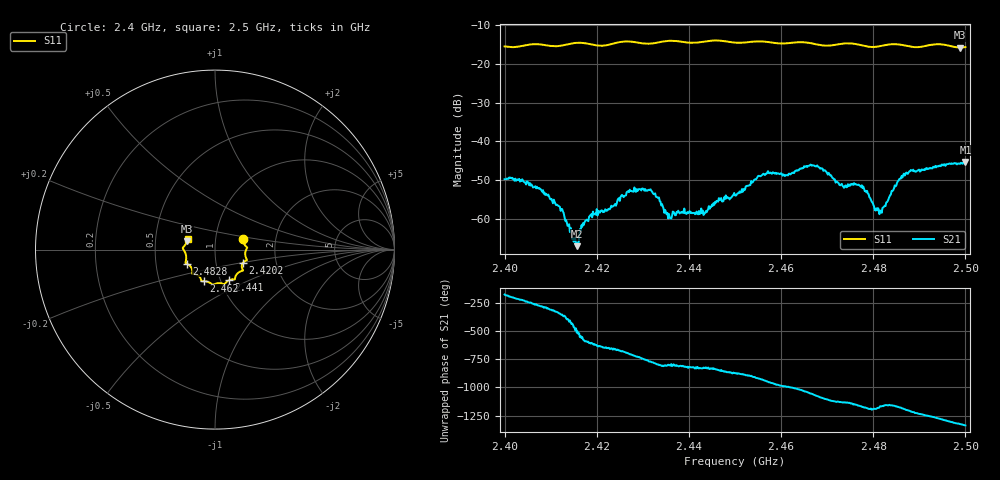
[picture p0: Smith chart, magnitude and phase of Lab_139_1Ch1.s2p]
# Hz S RI R 50
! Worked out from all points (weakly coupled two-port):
!   601 points, 2.4 GHz to 2.5 GHz, reference 50 ohm
!   highest |S21| = -45.34 dB at 2.5 GHz (marker M1); lowest = -67.1 dB at 2.4157 GHz (marker M2)
!   lowest |S11| = -15.8 dB at 2.4988 GHz (marker M3), VSWR 1.39, Z = 36.3 + j3.4 ohm
!   |S11| at or under -10 dB: start of sweep to end of sweep
!   S12 and S22 are empty: the file has one direction only
!   S11 on the Smith chart (normalised r, x): 2.4 GHz: 1.36, +0.17; 2.4202 GHz: 1.36, -0.20; 2.441 GHz: 1.10, -0.39; 2.462 GHz: 0.83, -0.30; 2.4828 GHz: 0.72, -0.12; 2.5 GHz: 0.73, +0.09
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2.4e9  0.157 0.0607  -0.00324 -7.19e-05  0 0  0 0
2.409167e9  0.1736 0.000419  0.00106 0.00175  0 0  0 0
2.412333e9  0.1691 -0.0334  0.00134 7.54e-05  0 0  0 0
2.415667e9  0.1782 -0.0572  -0.000406 -0.000177  0 0  0 0
2.416667e9  0.1775 -0.0593  -0.00076 0.000322  0 0  0 0
2.420167e9  0.1569 -0.0721  0.000156 0.00109  0 0  0 0
2.427e9  0.1556 -0.1174  0.00211 0.000668  0 0  0 0
2.433333e9  0.1131 -0.1521  0.000408 -0.00181  0 0  0 0
2.435667e9  0.1104 -0.1652  9.72e-05 -0.00115  0 0  0 0
2.441e9  0.0773 -0.1705  -0.000221 -0.00117  0 0  0 0
2.45e9  0.0272 -0.1867  -0.00179 -0.000913  0 0  0 0
2.456667e9  -0.0175 -0.1926  -0.00282 0.00256  0 0  0 0
2.462e9  -0.0613 -0.1761  0.000582 0.00369  0 0  0 0
2.466667e9  -0.0775 -0.1672  0.00446 0.00193  0 0  0 0
2.473167e9  -0.1214 -0.1356  0.00179 -0.00219  0 0  0 0
2.477333e9  -0.1259 -0.1208  0.000199 -0.00257  0 0  0 0
2.480833e9  -0.1425 -0.0872  -0.000308 -0.00125  0 0  0 0
2.482833e9  -0.1578 -0.0778  0.000383 -0.00158  0 0  0 0
2.483333e9  -0.1607 -0.0765  0.000369 -0.00178  0 0  0 0
2.488167e9  -0.1602 -0.0467  -0.00292 -0.00312  0 0  0 0
2.498833e9  -0.1563 0.0456  -0.00219 0.00462  0 0  0 0
2.5e9  -0.1531 0.0618  -0.00128 0.00526  0 0  0 0
